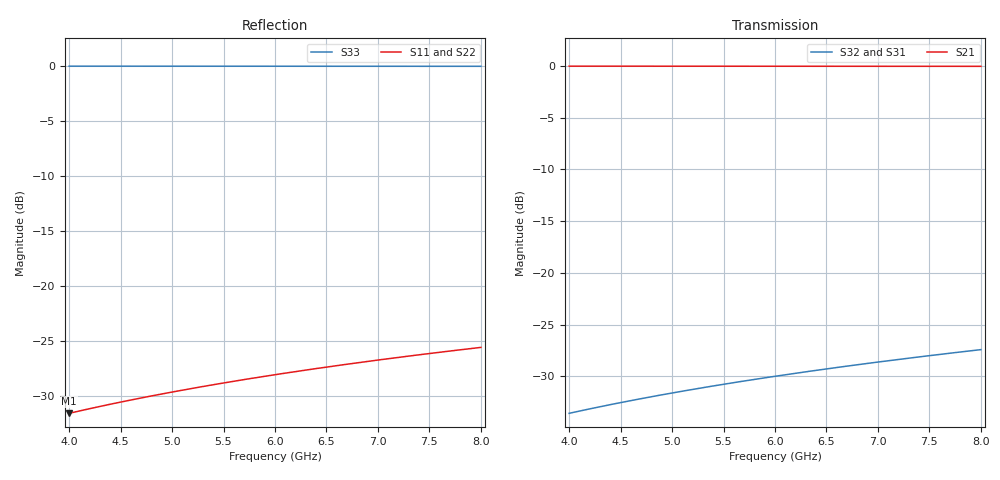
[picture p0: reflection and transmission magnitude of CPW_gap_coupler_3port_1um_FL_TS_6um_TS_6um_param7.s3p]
! Sonnet Data File
! From: em Version : 15.52
! From Project: CPW_gap_coupler_3port_1um_FL_TS_6um
! Data is De-embedded
! Data File Written: 08/14/2018 17:24:40
!< HDATE 08/14/2018 17:19:51
!< MDATE 08/14/2018 17:19:51
!< PARAMS
!< gap = 2.0
!< cpwS = 5.0
!< cpwS1 = 5.0
!< feedW = 12.0
!< feedS1 = 5.0
!< cond_length = 644.0
!< inner_length = 626.0
!< hangerW = 12.0000175
!< open_gap = 22.0
!< coupler_length = 650.0
!< END PARAMS
# GHZ S MA R 50.00000
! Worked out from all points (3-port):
!   201 points, 4 GHz to 8 GHz, reference 50 ohm
!   strongest paths, dB at 4 GHz, 5 GHz, 6 GHz, 7 GHz, 8 GHz:
!     S21: 0.0, 0.0, 0.0, 0.0, 0.0
!     S32: -33.6, -31.6, -30.0, -28.6, -27.4
!     S31: -33.6, -31.7, -30.1, -28.8, -27.6
!   lowest |S11| = -31.6 dB at 4 GHz (marker M1), VSWR 1.05, Z = 50.3 + j2.63 ohm
!   |S11| at or under -10 dB: start of sweep to end of sweep
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4  0.02643 82.1  0.9994 -9.1  0.02079 71.8
   0.9994 -9.1  0.02632 80.6  0.02092 84.8
   0.02079 71.8  0.02092 84.8  0.9996 -15.8
4.22  0.02788 81.6  0.9994 -9.6  0.02193 70.8
      0.9994 -9.6  0.02776 80.1  0.02208 84.5
      0.02193 70.8  0.02208 84.5  0.9995 -16.6
4.46  0.02946 81.1  0.9993 -10.2  0.02318 69.7
      0.9993 -10.2  0.02932 79.6  0.02336 84.2
      0.02318 69.7  0.02336 84.2  0.9995 -17.6
4.96  0.03275 80.1  0.9991 -11.3  0.02577 67.4
      0.9991 -11.3  0.03256 78.4  0.02602 83.5
      0.02577 67.4  0.02602 83.5  0.9993 -19.6
5.46  0.03604 79.1  0.9989 -12.4  0.02836 65.1
      0.9989 -12.4  0.03578 77.2  0.02869 82.8
      0.02836 65.1  0.02869 82.8  0.9992 -21.6
6  0.03959 78.1  0.9987 -13.7  0.03116 62.7
   0.9987 -13.7  0.03924 76.0  0.0316 82.1
   0.03116 62.7  0.0316 82.1  0.999 -23.7
6.48  0.04274 77.1  0.9985 -14.8  0.03365 60.5
      0.9985 -14.8  0.0423 74.8  0.03419 81.4
      0.03365 60.5  0.03419 81.4  0.9988 -25.6
6.94  0.04575 76.2  0.9983 -15.8  0.03603 58.4
      0.9983 -15.8  0.04522 73.8  0.03669 80.7
      0.03603 58.4  0.03669 80.7  0.9987 -27.5
7.46  0.04915 75.1  0.998 -17.0  0.03872 56.0
      0.998 -17.0  0.0485 72.5  0.03954 80.0
      0.03872 56.0  0.03954 80.0  0.9985 -29.6
8  0.05268 74.0  0.9977 -18.2  0.04152 53.5
   0.9977 -18.2  0.05187 71.3  0.04252 79.2
   0.04152 53.5  0.04252 79.2  0.9982 -31.7
